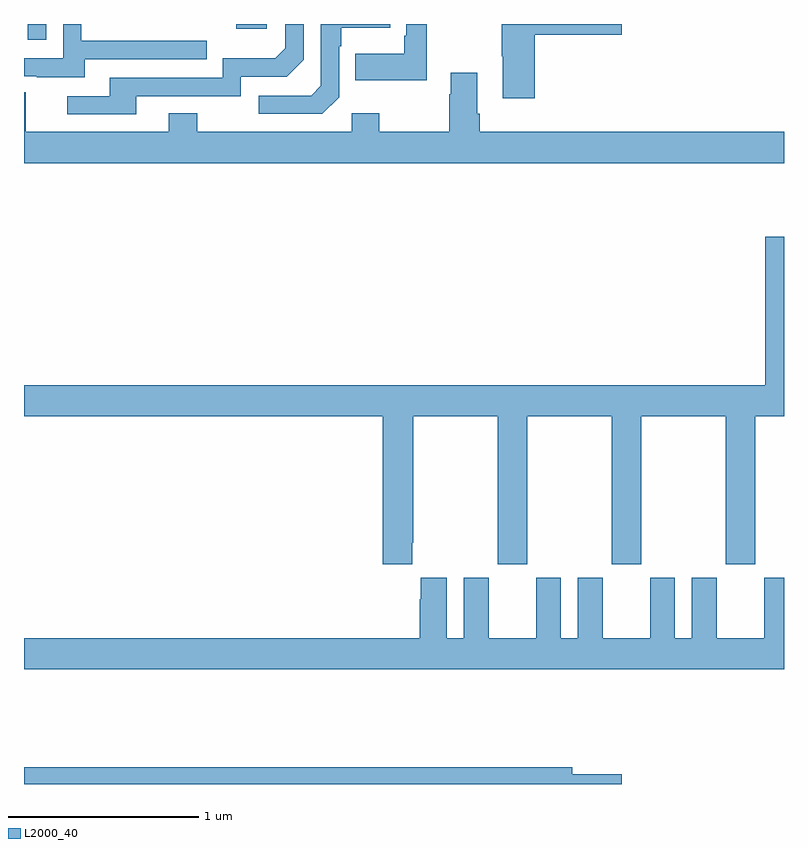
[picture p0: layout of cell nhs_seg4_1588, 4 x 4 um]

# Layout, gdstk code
import gdstk
lib = gdstk.Library(unit=1e-6, precision=1e-09)
def R(c, l, rs):  # rectangles x0, y0, x1, y1
    for r in rs: c.add(gdstk.rectangle(r[:2], r[2:], *l))
def P(c, l, *ps):  # polygons
    for p in ps: c.add(gdstk.Polygon(p, *l))
L2000_40 = (2000, 40)

nhs_seg4_1588 = lib.new_cell('nhs_seg4_1588')
R(nhs_seg4_1588, L2000_40, [(193.019,782.817,193.116,782.9), (194.117,782.876,194.278,782.9)])
P(nhs_seg4_1588, L2000_40, [(193.321,782.715),(193.961,782.715),(193.961,782.811),(193.302,782.811),(193.302,782.9),(193.206,782.9),(193.206,782.721),(193,782.721),(193,782.625),(193.067,782.625),(193.067,782.621),(193.321,782.621)],
  [(195.689,782.843),(196.147,782.843),(196.147,782.9),(195.514,782.9),(195.514,782.731),(195.521,782.731),(195.521,782.508),(195.689,782.508)],
  [(195.121,782.9),(195.012,782.9),(195.012,782.839),(195,782.839),(195,782.743),(194.743,782.743),(194.743,782.603),(195.121,782.603)],
  [(194.658,782.514),(194.658,782.783),(194.671,782.783),(194.671,782.879),(194.927,782.879),(194.927,782.9),(194.562,782.9),(194.562,782.574),(194.511,782.523),(194.235,782.523),(194.235,782.427),(194.571,782.427)],
  [(193.591,782.52),(194.142,782.52),(194.142,782.622),(194.382,782.622),(194.472,782.712),(194.472,782.9),(194.376,782.9),(194.376,782.772),(194.323,782.719),(194.046,782.719),(194.046,782.616),(193.451,782.616),(193.451,782.52),(193.227,782.52),(193.227,782.424),(193.591,782.424)],
  [(197,782.332),(195.398,782.332),(195.398,782.428),(195.385,782.428),(195.385,782.644),(195.245,782.644),(195.245,782.531),(195.238,782.531),(195.238,782.332),(194.871,782.332),(194.871,782.431),(194.724,782.431),(194.724,782.332),(193.911,782.332),(193.911,782.431),(193.763,782.431),(193.763,782.332),(193.009,782.332),(193.009,782.54),(193,782.54),(193,782.168),(197,782.168)],
  [(195.043,780.169),(195.048,780.169),(195.048,780.836),(195.493,780.836),(195.493,780.057),(195.648,780.057),(195.648,780.836),(196.093,780.836),(196.093,780.057),(196.248,780.057),(196.248,780.836),(196.693,780.836),(196.693,780.057),(196.848,780.057),(196.848,780.836),(197,780.836),(197,781.78),(196.901,781.78),(196.901,781),(193,781),(193,780.836),(194.888,780.836),(194.888,780.057),(195.043,780.057)],
  [(195.314,779.986),(195.314,779.668),(195.226,779.668),(195.226,779.986),(195.089,779.986),(195.089,779.873),(195.083,779.873),(195.083,779.668),(193,779.668),(193,779.504),(197,779.504),(197,779.986),(196.895,779.986),(196.895,779.668),(196.645,779.668),(196.645,779.986),(196.514,779.986),(196.514,779.668),(196.426,779.668),(196.426,779.986),(196.295,779.986),(196.295,779.668),(196.045,779.668),(196.045,779.986),(195.914,779.986),(195.914,779.668),(195.826,779.668),(195.826,779.986),(195.695,779.986),(195.695,779.668),(195.445,779.668),(195.445,779.986)],
  [(196.147,778.952),(195.886,778.952),(195.886,778.988),(193,778.988),(193,778.9),(196.147,778.9)])

lib.write_gds('nhs_seg4_1588.gds')
